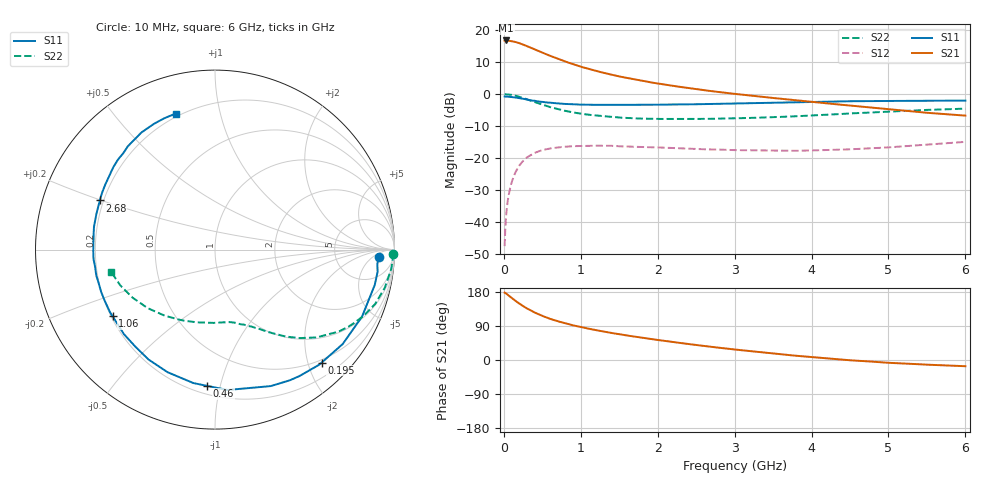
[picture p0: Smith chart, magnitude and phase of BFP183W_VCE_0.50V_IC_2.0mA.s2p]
! Infineon Technologies  Discrete & RF Semiconductors
! BFP183W
! VCE = 0.50V,  IC =  2.0 mA
! Common Emitter S-Parameters:  Jan 2016
# GHz  S  MA  R  50
!  f  S11  S21  S12  S22
! GHz  MAG  ANG  MAG  ANG  MAG  ANG  MAG  ANG
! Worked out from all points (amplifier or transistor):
!   210 points, 10 MHz to 6 GHz, reference 50 ohm
!   highest |S21| = 16.7 dB at 30 MHz (marker M1)
!   |S21| within 3 dB of that: start of sweep to 423.3 MHz
!   unconditionally stable (mu >= 1): 2.167 GHz to end of sweep
!   at 185 MHz: K = 0.10, MSG = 19.5 dB, |S12| = -23.0 dB
!   at 1.52 GHz: K = 0.72, MSG = 10.9 dB, |S12| = -16.4 dB
!   at 6 GHz: K = 1.34, MAG = 0.6 dB, |S12| = -15.0 dB
!   S11 on the Smith chart (normalised r, x): 10 MHz: 18, -9; 195 MHz: 0.45, -2.24; 460 MHz: 0.25, -0.91; 1.06 GHz: 0.21, -0.29; 2.68 GHz: 0.19, +0.20; 6 GHz: 0.18, +0.74
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0.01  0.9133 -2.6  6.794 177.8  0.0042 89.5  0.9938 -1.3
0.03  0.9143 -7.8  6.857 175.3  0.0126 85.8  0.9911 -3.9
0.055  0.9087 -13.7  6.804 171.2  0.0231 81.5  0.9848 -7.1
0.1  0.9003 -24.5  6.685 164.0  0.041 75.7  0.9693 -12.7
0.15  0.8849 -36.5  6.501 156.1  0.0596 68.8  0.9422 -18.8
0.195  0.8656 -46.7  6.248 149.6  0.0744 63.1  0.9093 -23.6
0.24  0.8474 -56.2  5.992 143.7  0.0872 57.9  0.8741 -28.1
0.3  0.8214 -67.8  5.598 136.0  0.1024 51.6  0.8272 -33.5
0.4  0.7853 -84.9  4.995 125.3  0.1203 42.8  0.7489 -40.8
0.46  0.7603 -93.3  4.645 120.1  0.1278 38.6  0.7085 -43.9
0.6  0.7325 -111.1  3.952 108.7  0.1411 30.3  0.6255 -50.8
0.7  0.7157 -121.2  3.563 102.3  0.1467 26.1  0.5812 -54.1
0.8  0.699 -129.7  3.203 96.5  0.1503 22.1  0.5444 -57.4
1.02  0.6817 -144.6  2.628 86.1  0.1544 15.7  0.4892 -62.9
1.06  0.6809 -146.9  2.549 84.5  0.1548 14.8  0.4819 -63.7
1.4  0.6744 -163.6  2.001 71.3  0.1552 8.3  0.4408 -70.9
2.02  0.6803 174.3  1.446 52.4  0.1461 3.3  0.408 -83.1
2.68  0.6977 156.9  1.117 35.2  0.1362 2.4  0.4095 -96.9
3.1  0.7136 147.4  0.975 25.6  0.1325 3.7  0.4198 -106.2
4.1  0.7553 128.6  0.734 6.2  0.1323 10.8  0.4677 -129.7
5.1  0.7796 115.0  0.564 -8.3  0.1495 17.8  0.537 -151.8
6  0.7892 106.1  0.459 -16.4  0.1788 20.3  0.5915 -167.8
